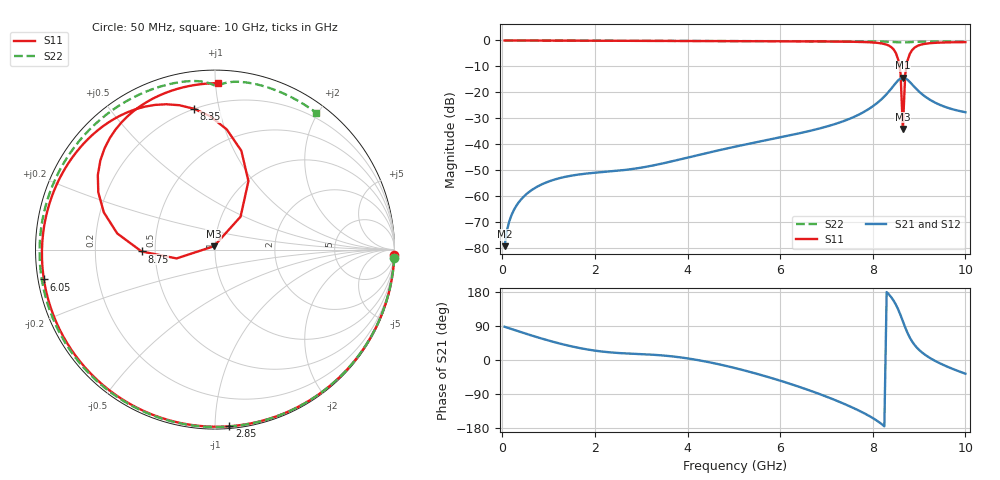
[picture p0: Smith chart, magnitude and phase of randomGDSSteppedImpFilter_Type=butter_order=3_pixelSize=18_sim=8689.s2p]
! freq	dB(S11)	phase(S11)	dB(S12)	phase(S12)
!  dB(S21)	phase(S21)	dB(S22)	phase(S22)
!S-par simulation data
#  GHz  S  DB  R 50
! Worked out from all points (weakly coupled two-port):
!   200 points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, 50 MHz to 10 GHz, reference 50 ohm
!   highest |S21| = -14.31 dB at 8.65 GHz (marker M1); lowest = -79.2 dB at 50 MHz (marker M2)
!   lowest |S11| = -34.1 dB at 8.65 GHz (marker M3), VSWR 1.04, Z = 49.4 + j1.86 ohm
!   |S11| at or under -10 dB: 8.574 GHz to 8.729 GHz (154.9 MHz wide, 1.79 % of centre)
!   |S22| runs from -0.8 to 0.0 dB; largest |S21 - S12| = 0
!   S11 on the Smith chart (normalised r, x): 50 MHz: 0, -72; 2.85 GHz: 0.01, -1.09; 6.05 GHz: 0.02, -0.09; 8.35 GHz: 0.20, +0.84; 8.75 GHz: 0.42, -0.01; 10 GHz: 0.08, +1.01
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0.05  -0.00 -1.6  -79.18 87.7  -79.18 87.7  -0.00 -2.5
0.1  -0.00 -3.2  -73.17 85.8  -73.17 85.8  -0.01 -5.1
0.2  -0.01 -6.3  -67.18 81.8  -67.18 81.8  -0.01 -10.1
0.5  -0.02 -15.7  -59.48 69.8  -59.48 69.8  -0.03 -24.9
1.15  -0.05 -35.7  -53.42 46.3  -53.42 46.3  -0.07 -55.7
1.75  -0.07 -53.8  -51.37 29.7  -51.37 29.7  -0.09 -81.3
2.85  -0.11 -85.3  -49.38 16.3  -49.38 16.3  -0.13 -121.0
3.4  -0.13 -100.4  -47.58 12.6  -47.58 12.6  -0.14 -138.1
5.05  -0.21 -143.7  -40.80 -22.0  -40.80 -22.0  -0.20 177.8
6.05  -0.28 -170.1  -37.11 -56.4  -37.11 -56.4  -0.25 153.3
6.7  -0.35 171.8  -34.56 -83.1  -34.56 -83.1  -0.28 137.6
7.75  -0.58 136.8  -28.08 -136.5  -28.08 -136.5  -0.36 111.5
8.1  -0.93 119.4  -24.00 -160.9  -24.00 -160.9  -0.41 102.4
8.35  -2.01 98.5  -19.61 172.9  -19.61 172.9  -0.51 95.7
8.5  -4.89 75.1  -16.32 145.9  -16.32 145.9  -0.66 91.8
8.6  -12.68 52.2  -14.60 118.3  -14.60 118.3  -0.78 90.0
8.65  -34.12 107.4  -14.31 102.2  -14.31 102.2  -0.80 89.4
8.7  -13.17 -167.1  -14.51 86.1  -14.51 86.1  -0.77 88.7
8.75  -7.76 -178.5  -15.13 71.5  -15.13 71.5  -0.71 87.8
8.9  -2.80 153.9  -17.91 40.2  -17.91 40.2  -0.54 84.1
9.2  -1.12 126.4  -22.45 7.9  -22.45 7.9  -0.45 75.6
10  -0.65 89.1  -27.63 -36.1  -27.63 -36.1  -0.46 53.6
